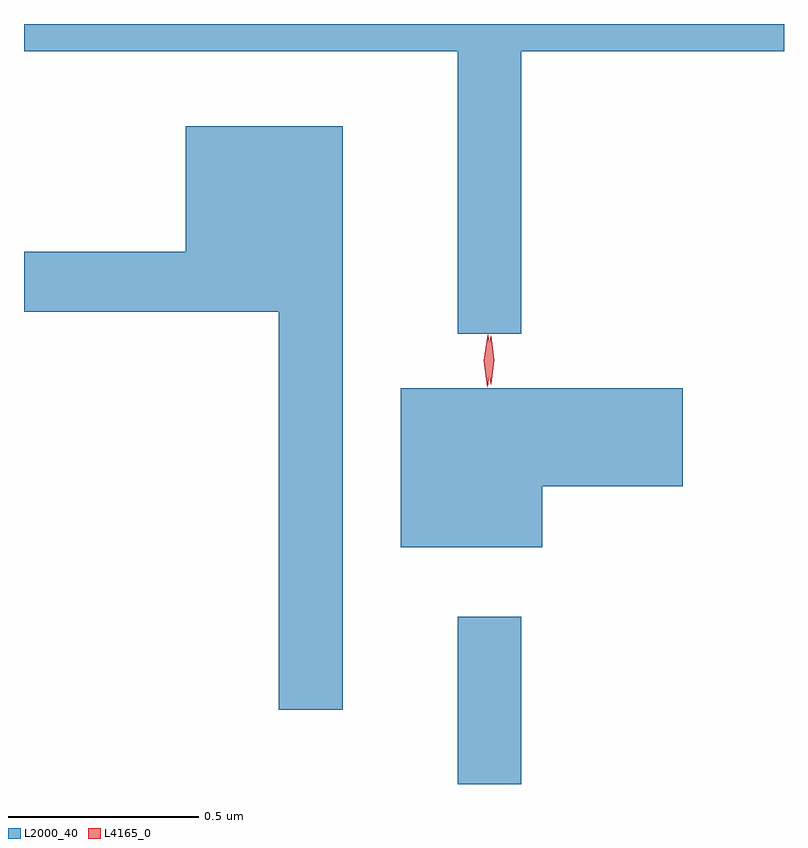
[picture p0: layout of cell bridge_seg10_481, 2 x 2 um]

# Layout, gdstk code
import gdstk
lib = gdstk.Library(unit=1e-6, precision=1e-09)
def R(c, l, rs):  # rectangles x0, y0, x1, y1
    for r in rs: c.add(gdstk.rectangle(r[:2], r[2:], *l))
def P(c, l, *ps):  # polygons
    for p in ps: c.add(gdstk.Polygon(p, *l))
L2000_40 = (2000, 40)
L4165_0 = (4165, 0)

bridge_seg10_481 = lib.new_cell('bridge_seg10_481')
R(bridge_seg10_481, L2000_40, [(1472.161,2116.428,1472.329,2116.868)])
P(bridge_seg10_481, L2000_40, [(1472.329,2118.356),(1473.02,2118.356),(1473.02,2118.428),(1471.02,2118.428),(1471.02,2118.356),(1472.161,2118.356),(1472.161,2117.613),(1472.329,2117.613)],
  [(1471.859,2118.159),(1471.446,2118.159),(1471.446,2117.829),(1471.02,2117.829),(1471.02,2117.671),(1471.691,2117.671),(1471.691,2116.623),(1471.859,2116.623)],
  [(1472.384,2117.211),(1472.754,2117.211),(1472.754,2117.469),(1472.011,2117.469),(1472.011,2117.051),(1472.384,2117.051)])
P(bridge_seg10_481, L4165_0, [(1472.248,2117.48),(1472.248,2117.48),(1472.238,2117.544),(1472.248,2117.606),(1472.248,2117.607),(1472.249,2117.606),(1472.258,2117.544),(1472.249,2117.48)],
  [(1472.239,2117.474),(1472.23,2117.542),(1472.241,2117.61),(1472.241,2117.61),(1472.242,2117.61),(1472.25,2117.542),(1472.24,2117.474),(1472.24,2117.474)])

lib.write_gds('bridge_seg10_481.gds')
